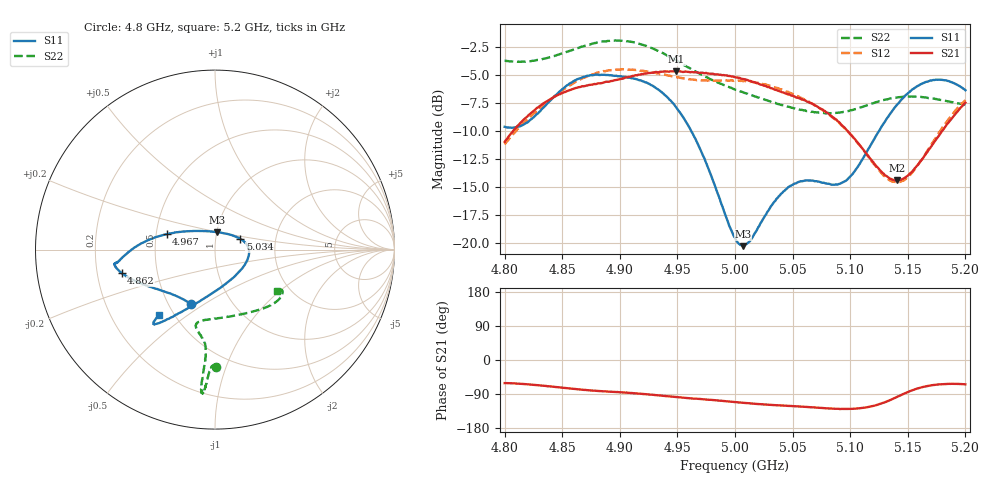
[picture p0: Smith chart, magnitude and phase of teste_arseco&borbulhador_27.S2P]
! Network Analyzer HP8722D
! Hewlett-Packard
! Data name: Linha & Wilkinson
! Saver's name: Rodrigo Anjos
! Comments: Teste da utilização de aquisição
! continua pelo VNA HP8722D
! Time and date: 15/4/2025 15:51
!  Frequency  S11  S21  S12  S22
# HZ  S  MA R 50
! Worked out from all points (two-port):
!   401 points, 4.8 GHz to 5.2 GHz, reference 50 ohm
!   highest |S21| = -4.63 dB at 4.949 GHz (marker M1); lowest = -14.4 dB at 5.141 GHz (marker M2)
!   |S21| within 3 dB of the highest: 4.832 GHz to 5.069 GHz (236.8 MHz wide, 4.78 % of centre); 5.198277 GHz to end of sweep
!   lowest |S11| = -20.2 dB at 5.007 GHz (marker M3), VSWR 1.22, Z = 50.3 + j9.8 ohm
!   |S11| at or under -10 dB: 4.962 GHz to 5.125 GHz (162.7 MHz wide, 3.23 % of centre)
!   |S22| runs from -8.4 to -1.9 dB; largest |S21 - S12| = 0.88
!   S11 on the Smith chart (normalised r, x): 4.8 GHz: 0.65, -0.44; 4.862 GHz: 0.31, -0.11; 4.967 GHz: 0.57, +0.11; 5.034 GHz: 1.32, +0.16; 5.2 GHz: 0.41, -0.39
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4.8e9  0.3313 -113.9  0.2837 -61.0  0.2768 -175.2  0.6544 -89.5
4.819e9  0.3454 -133.9  0.3661 -63.9  0.3539 -173.4  0.6493 -91.2
4.862e9  0.5368 -165.9  0.4939 -76.9  0.528 -176.6  0.7409 -93.6
4.867e9  0.5493 -167.8  0.5018 -78.3  0.5433 -177.6  0.7549 -93.8
4.903e9  0.5535 -172.3  0.5444 -85.6  0.5977 175.1  0.801 -95.3
4.934e9  0.4834 -178.3  0.5806 -93.6  0.5732 171.8  0.7191 -95.6
4.949e9  0.4041 174.6  0.5865 -97.4  0.5531 172.1  0.6555 -95.3
4.967e9  0.283 162.2  0.5799 -102.2  0.5345 173.9  0.5794 -95.1
5e9  0.1061 106.4  0.5522 -111.0  0.5328 176.3  0.4853 -99.3
5.007e9  0.09726 82.5  0.5414 -112.9  0.5295 176.3  0.472 -100.9
5.014e9  0.1042 60.1  0.5285 -114.8  0.5269 176.1  0.4594 -102.6
5.034e9  0.1533 23.2  0.4863 -119.1  0.4982 175.0  0.4237 -104.0
5.049e9  0.1815 7.5  0.4562 -121.4  0.4668 174.3  0.4032 -100.7
5.067e9  0.1907 -12.0  0.4197 -124.8  0.4205 173.8  0.3869 -91.9
5.086e9  0.1828 -42.4  0.3628 -128.5  0.3603 173.5  0.3819 -77.6
5.097e9  0.1917 -65.4  0.3199 -129.2  0.3191 174.1  0.3888 -68.4
5.134e9  0.3745 -116.5  0.1953 -106.7  0.1914 -159.3  0.4424 -43.4
5.141e9  0.4176 -120.3  0.1913 -96.8  0.1877 -148.5  0.4485 -40.3
5.153e9  0.4824 -125.2  0.2074 -81.0  0.2049 -130.0  0.4525 -36.0
5.17e9  0.533 -128.8  0.2693 -67.0  0.2741 -113.0  0.4445 -32.1
5.184e9  0.5318 -130.2  0.3399 -63.2  0.35 -107.4  0.4312 -31.2
5.2e9  0.4824 -130.6  0.4243 -64.3  0.4359 -106.2  0.4153 -33.4
